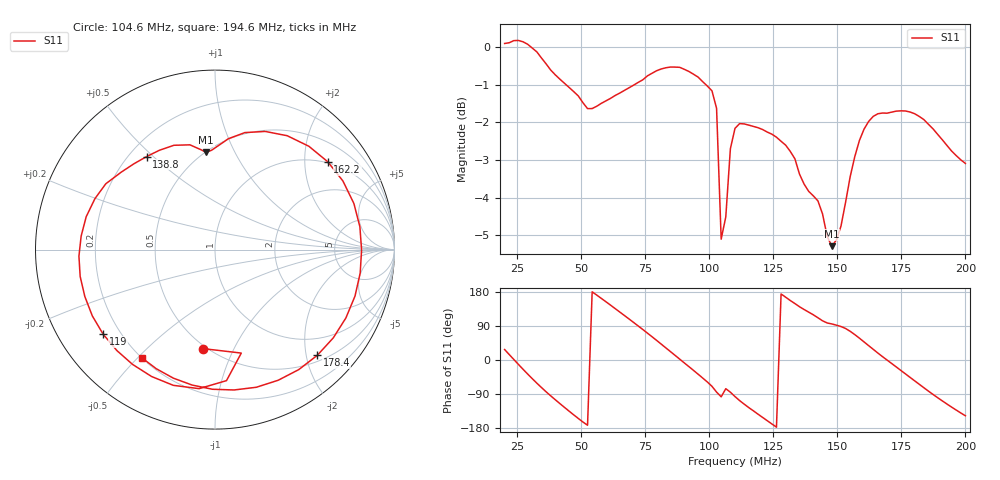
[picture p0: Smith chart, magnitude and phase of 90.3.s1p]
# HZ S RI R 50
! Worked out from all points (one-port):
!   101 points, 20 MHz to 200 MHz, reference 50 ohm
!   lowest |S11| = -5.3 dB at 147.8 MHz (marker M1), VSWR 3.38, Z = 25.3 + j38.8 ohm
!   |S11| at or under -10 dB: nowhere
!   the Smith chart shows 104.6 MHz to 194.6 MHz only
!   S11 on the Smith chart (normalised r, x): 104.6 MHz: 0.48, -0.76; 119 MHz: 0.14, -0.33; 138.8 MHz: 0.27, +0.48; 162.2 MHz: 0.97, +2.59; 178.4 MHz: 0.62, -2.22; 194.6 MHz: 0.20, -0.51
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2e7  0.8954 0.4691
2.54e7  0.999 -0.2067
3.26e7  0.4757 -0.8627
3.8e7  -0.0734 -0.9291
4.34e7  -0.5144 -0.7323
5.42e7  -0.8284 0.00243
6.5e7  -0.5165 0.6984
7.58e7  0.2996 0.8652
8.3e7  0.7968 0.4958
8.84e7  0.939 0.0367
9.38e7  0.8166 -0.424
1.01e8  0.3073 -0.8188
1.028e8  0.0768 -0.8256
1.046e8  -0.0695 -0.5513
1.064e8  0.1465 -0.5765
1.1e8  -0.0887 -0.7747
1.19e8  -0.624 -0.4701
1.262e8  -0.7581 -0.0361
1.334e8  -0.6085 0.3667
1.388e8  -0.3803 0.5186
1.478e8  -0.0493 0.5416
1.55e8  0.1663 0.6519
1.622e8  0.6283 0.4894
1.694e8  0.8168 -0.00258
1.784e8  0.5701 -0.5889
1.856e8  0.1059 -0.7821
1.946e8  -0.4094 -0.6015
2e8  -0.5889 -0.3793
